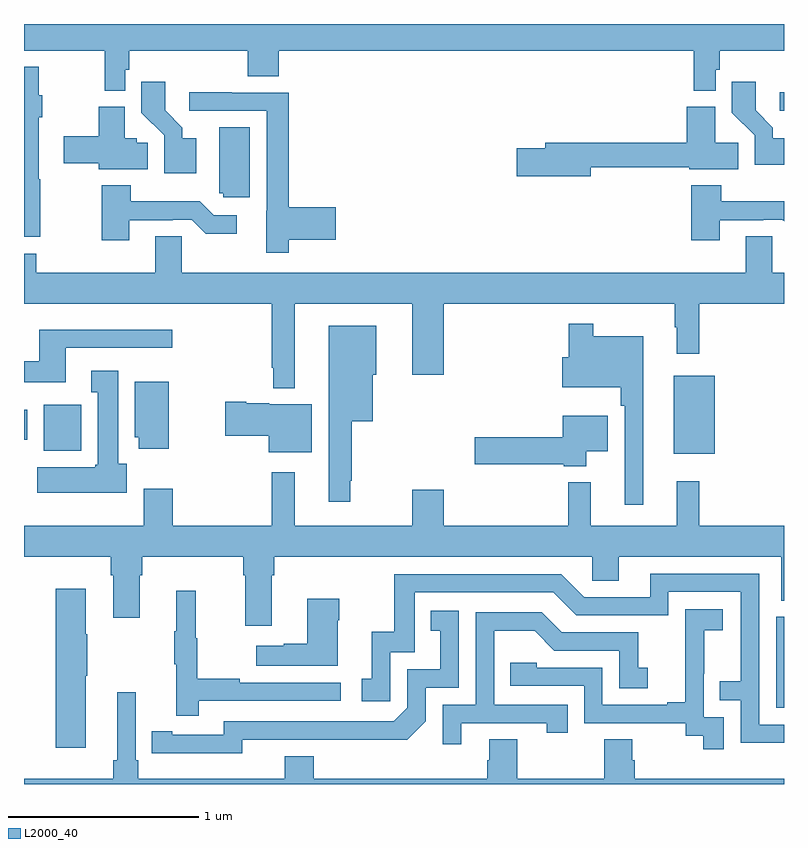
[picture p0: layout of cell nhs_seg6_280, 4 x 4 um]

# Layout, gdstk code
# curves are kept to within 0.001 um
import gdstk
lib = gdstk.Library(unit=1e-6, precision=1e-09)
def R(c, l, rs):  # rectangles x0, y0, x1, y1
    for r in rs: c.add(gdstk.rectangle(r[:2], r[2:], *l))
def P(c, l, *ps):  # polygons
    for p in ps: c.add(gdstk.Polygon(p, *l))
L2000_40 = (2000, 40)

nhs_seg6_280 = lib.new_cell('nhs_seg6_280')
R(nhs_seg6_280, L2000_40, [(130.959,919.902,131,920.379), (130.421,921.239,130.636,921.649), (127.103,921.254,127.3,921.496), (127,921.313,127.018,921.469), (130.977,923.043,131,923.142)])
P(nhs_seg6_280, L2000_40, [(127.533,923.259),(127.553,923.259),(127.553,923.36),(128.177,923.36),(128.177,923.224),(128.342,923.224),(128.342,923.36),(130.525,923.36),(130.525,923.15),(130.641,923.15),(130.641,923.259),(130.661,923.259),(130.661,923.36),(131,923.36),(131,923.5),(127,923.5),(127,923.36),(127.425,923.36),(127.425,923.15),(127.533,923.15)],
  [(127.086,922.682),(127.078,922.682),(127.078,923.01),(127.096,923.01),(127.096,923.124),(127.078,923.124),(127.078,923.275),(127,923.275),(127,922.379),(127.086,922.379)],
  [(127.906,922.9),(127.834,922.9),(127.834,922.955),(127.744,923.045),(127.744,923.197),(127.618,923.197),(127.618,923.034),(127.737,922.915),(127.737,922.764),(127.739,922.764),(127.739,922.715),(127.906,922.715)],
  [(131,922.9),(130.942,922.9),(130.942,922.955),(130.852,923.045),(130.852,923.197),(130.726,923.197),(130.726,923.034),(130.845,922.915),(130.845,922.76),(131,922.76)],
  [(128.393,922.364),(128.641,922.364),(128.641,922.535),(128.393,922.535),(128.393,923.139),(128.093,923.139),(128.093,923.142),(127.869,923.142),(127.869,923.043),(128.277,923.043),(128.277,922.518),(128.276,922.518),(128.276,922.296),(128.393,922.296)],
  [(129.982,922.747),(130.502,922.747),(130.502,922.736),(130.76,922.736),(130.76,922.874),(130.639,922.874),(130.639,923.065),(130.489,923.065),(130.489,922.876),(129.743,922.876),(129.743,922.847),(129.594,922.847),(129.594,922.7),(129.982,922.7)],
  [(127.652,922.874),(127.593,922.874),(127.593,922.899),(127.531,922.899),(127.531,923.065),(127.394,923.065),(127.394,922.908),(127.209,922.908),(127.209,922.766),(127.394,922.766),(127.394,922.736),(127.652,922.736)],
  [(128.188,922.957),(128.027,922.957),(128.027,922.608),(128.049,922.608),(128.049,922.587),(128.188,922.587)],
  [(127.555,922.467),(127.784,922.467),(127.784,922.47),(127.884,922.47),(127.957,922.397),(128.119,922.397),(128.119,922.494),(127.998,922.494),(127.925,922.567),(127.563,922.567),(127.563,922.651),(127.408,922.651),(127.408,922.362),(127.555,922.362)],
  [(130.663,922.467),(130.892,922.467),(130.892,922.47),(130.992,922.47),(131,922.462),(131,922.567),(130.671,922.567),(130.671,922.651),(130.511,922.651),(130.511,922.362),(130.663,922.362)],
  [(128.425,922.028),(129.044,922.028),(129.044,921.654),(129.208,921.654),(129.208,922.028),(130.425,922.028),(130.425,921.905),(130.436,921.905),(130.436,921.765),(130.553,921.765),(130.553,922.028),(131,922.028),(131,922.192),(130.938,922.192),(130.938,922.382),(130.799,922.382),(130.799,922.192),(127.83,922.192),(127.83,922.382),(127.691,922.382),(127.691,922.192),(127.064,922.192),(127.064,922.291),(127,922.291),(127,922.028),(128.304,922.028),(128.304,921.691),(128.311,921.691),(128.311,921.584),(128.425,921.584)],
  [(130.258,921.856),(129.997,921.856),(129.997,921.922),(129.868,921.922),(129.868,921.745),(129.834,921.745),(129.834,921.587),(130.141,921.587),(130.141,921.491),(130.161,921.491),(130.161,920.97),(130.258,920.97)],
  [(128.717,921.097),(128.725,921.097),(128.725,921.41),(128.836,921.41),(128.836,921.654),(128.854,921.654),(128.854,921.913),(128.603,921.913),(128.603,920.985),(128.717,920.985)],
  [(127.219,921.795),(127.78,921.795),(127.78,921.892),(127.079,921.892),(127.079,921.724),(127,921.724),(127,921.614),(127.219,921.614)],
  [(127.54,921.186),(127.495,921.186),(127.495,921.676),(127.355,921.676),(127.355,921.563),(127.388,921.563),(127.388,921.18),(127.375,921.18),(127.375,921.166),(127.071,921.166),(127.071,921.032),(127.54,921.032)],
  [(127.762,921.616),(127.583,921.616),(127.583,921.324),(127.604,921.324),(127.604,921.264),(127.762,921.264)],
  [(128.515,921.499),(128.292,921.499),(128.292,921.505),(128.17,921.505),(128.17,921.512),(128.058,921.512),(128.058,921.334),(128.288,921.334),(128.288,921.245),(128.515,921.245)],
  [(129.958,921.251),(130.072,921.251),(130.072,921.439),(129.836,921.439),(129.836,921.326),(129.372,921.326),(129.372,921.184),(129.84,921.184),(129.84,921.173),(129.958,921.173)],
  [(128.305,920.6),(128.318,920.6),(128.318,920.696),(129.99,920.696),(129.99,920.569),(130.129,920.569),(130.129,920.696),(130.985,920.696),(130.985,920.464),(131,920.464),(131,920.86),(130.553,920.86),(130.553,921.094),(130.436,921.094),(130.436,920.86),(129.983,920.86),(129.983,921.088),(129.865,921.088),(129.865,920.86),(129.208,920.86),(129.208,921.049),(129.044,921.049),(129.044,920.86),(128.425,920.86),(128.425,921.142),(128.304,921.142),(128.304,920.86),(127.784,920.86),(127.784,921.055),(127.631,921.055),(127.631,920.86),(127,920.86),(127,920.696),(127.457,920.696),(127.457,920.6),(127.469,920.6),(127.469,920.376),(127.609,920.376),(127.609,920.6),(127.622,920.6),(127.622,920.696),(128.153,920.696),(128.153,920.6),(128.165,920.6),(128.165,920.334),(128.305,920.334)],
  [(131,919.812),(130.869,919.812),(130.869,920.607),(130.295,920.607),(130.295,920.484),(129.948,920.484),(129.828,920.604),(128.949,920.604),(128.949,920.302),(128.831,920.302),(128.831,920.055),(128.778,920.055),(128.778,919.935),(128.928,919.935),(128.928,920.193),(129.057,920.193),(129.057,920.508),(129.786,920.508),(129.906,920.388),(130.392,920.388),(130.392,920.511),(130.773,920.511),(130.773,920.042),(130.663,920.042),(130.663,919.941),(130.773,919.941),(130.773,919.716),(131,919.716)],
  [(127.324,920.071),(127.332,920.071),(127.332,920.288),(127.324,920.288),(127.324,920.527),(127.166,920.527),(127.166,919.692),(127.324,919.692)],
  [(127.919,919.938),(128.668,919.938),(128.668,920.034),(128.135,920.034),(128.135,920.054),(127.912,920.054),(127.912,920.268),(127.904,920.268),(127.904,920.518),(127.802,920.518),(127.802,920.305),(127.791,920.305),(127.791,920.131),(127.802,920.131),(127.802,919.86),(127.919,919.86)],
  [(128.65,920.363),(128.658,920.363),(128.658,920.476),(128.492,920.476),(128.492,920.237),(128.366,920.237),(128.366,920.227),(128.223,920.227),(128.223,920.123),(128.65,920.123)],
  [(130.683,919.851),(130.578,919.851),(130.578,920.081),(130.58,920.081),(130.58,920.309),(130.678,920.309),(130.678,920.419),(130.48,920.419),(130.48,920.213),(130.481,920.213),(130.481,919.93),(130.385,919.93),(130.385,919.917),(130.044,919.917),(130.044,920.112),(129.699,920.112),(129.699,920.139),(129.559,920.139),(129.559,920.016),(129.948,920.016),(129.948,919.821),(130.482,919.821),(130.482,919.753),(130.575,919.753),(130.575,919.683),(130.683,919.683)],
  [(128.148,919.734),(129.016,919.733),(129.114,919.83),(129.114,920.007),(129.288,920.007),(129.288,920.413),(129.142,920.413),(129.142,920.307),(129.191,920.307),(129.191,920.103),(129.018,920.103),(129.018,919.902),(128.946,919.83),(128.052,919.83),(128.052,919.758),(127.78,919.758),(127.78,919.778),(127.672,919.778),(127.672,919.662),(128.148,919.661)],
  [(129.301,919.821),(129.752,919.821),(129.752,919.77),(129.863,919.77),(129.863,919.917),(129.474,919.917),(129.474,920.306),(129.688,920.306),(129.792,920.202),(130.134,920.202),(130.134,920.004),(130.282,920.004),(130.282,920.113),(130.233,920.113),(130.233,920.298),(129.829,920.298),(129.724,920.403),(129.378,920.403),(129.378,919.917),(129.204,919.917),(129.204,919.71),(129.301,919.71)],
  [(131,919.528),(130.214,919.528),(130.214,919.626),(130.201,919.626),(130.201,919.736),(130.054,919.736),(130.054,919.528),(129.597,919.528),(129.597,919.736),(129.449,919.736),(129.449,919.626),(129.437,919.626),(129.437,919.528),(128.525,919.528),(128.525,919.645),(128.372,919.645),(128.372,919.528),(127.601,919.528),(127.601,919.624),(127.587,919.624),(127.587,919.984),(127.49,919.984),(127.49,919.624),(127.471,919.624),(127.471,919.528),(127,919.528),(127,919.5),(131,919.5)])

lib.write_gds('nhs_seg6_280.gds')
